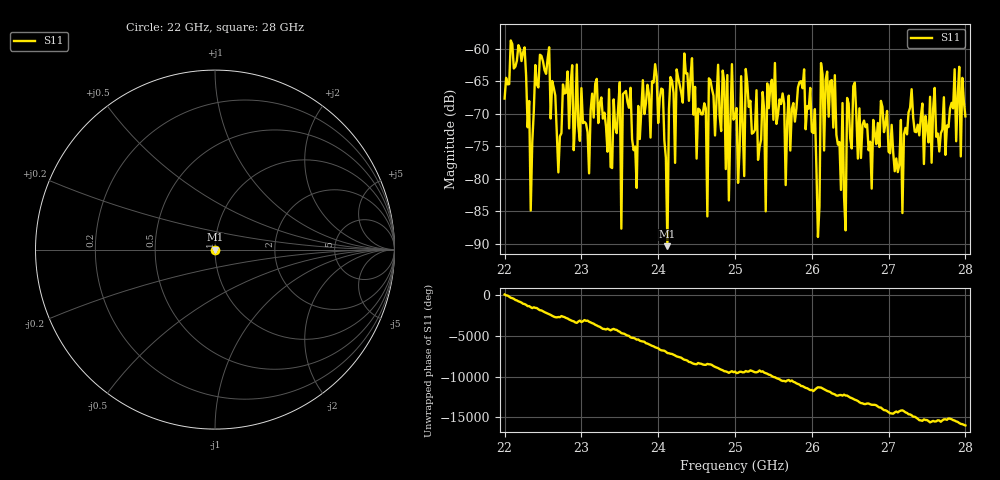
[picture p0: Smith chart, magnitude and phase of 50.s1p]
#  HZ  S  RI  R  50.00
! Rohde & Schwarz ZVA40 4Ports - Version 3.90 - 1145.1110k42 SN: 100403
! Date: 2023-10-04 07:53:48
! Measurement: S12
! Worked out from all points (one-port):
!   301 points, 22 GHz to 28 GHz, reference 50 ohm
!   lowest |S11| = -90.4 dB at 24.12 GHz (marker M1), VSWR 1.00, Z = 50 + j0.00303 ohm
!   |S11| at or under -10 dB: start of sweep to end of sweep
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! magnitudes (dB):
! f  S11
! 22 GHz  -67.7
! 22.26 GHz  -59.8
! 22.34 GHz  -84.9
! 22.4 GHz  -62.5
! 22.58 GHz  -59.8
! 22.7 GHz  -79.0
! 22.76 GHz  -65.5
! 23.1 GHz  -79.2
! 23.5 GHz  -65.2
! 23.52 GHz  -87.7
! 23.54 GHz  -67.0
! 23.72 GHz  -81.4
! 23.96 GHz  -62.4
! 24.12 GHz  -90.4
! 24.16 GHz  -64.4
! 24.26 GHz  -64.5
! 24.64 GHz  -85.8
! 24.66 GHz  -64.6
! 25 GHz  -70.5
! 25.36 GHz  -66.7
! 25.4 GHz  -85.0
! 25.42 GHz  -65.3
! 25.52 GHz  -62.2
! 25.66 GHz  -81.0
! 25.76 GHz  -68.4
! 26.5 GHz  -73.8
! 27.26 GHz  -69.8
! 28 GHz  -70.4
